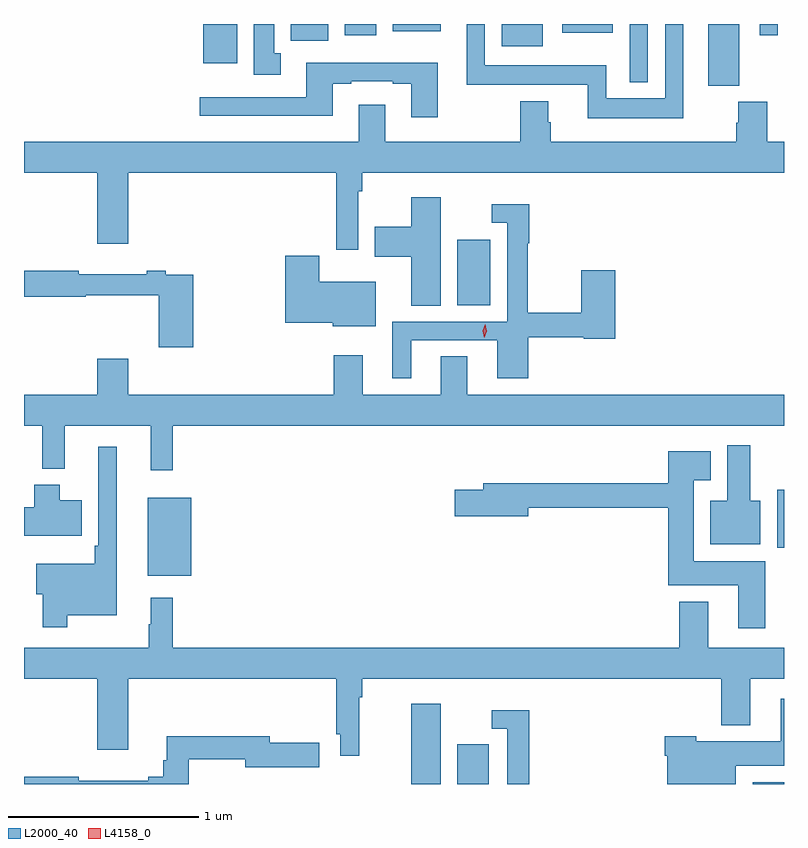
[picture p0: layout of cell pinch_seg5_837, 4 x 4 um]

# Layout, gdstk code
import gdstk
lib = gdstk.Library(unit=1e-6, precision=1e-09)
def R(c, l, rs):  # rectangles x0, y0, x1, y1
    for r in rs: c.add(gdstk.rectangle(r[:2], r[2:], *l))
def P(c, l, *ps):  # polygons
    for p in ps: c.add(gdstk.Polygon(p, *l))
L2000_40 = (2000, 40)
L4158_0 = (4158, 0)

pinch_seg5_837 = lib.new_cell('pinch_seg5_837')
R(pinch_seg5_837, L2000_40, [(802.025,876.187,802.18,876.61), (802.268,876.187,802.432,876.397), (803.822,876.187,803.987,876.196), (800.639,877.283,800.866,877.693), (803.951,877.43,803.987,877.735), (802.268,878.708,802.441,879.052), (803.588,879.862,803.752,880.187), (803.175,879.881,803.271,880.187), (800.93,879.98,801.109,880.187), (802.502,880.07,802.717,880.187), (801.392,880.1,801.589,880.187), (801.674,880.128,801.841,880.187), (803.859,880.128,803.955,880.187), (802.821,880.142,803.086,880.187), (801.929,880.148,802.18,880.187)])
P(pinch_seg5_837, L2000_40, [(803.458,880.187),(803.361,880.187),(803.361,879.796),(803.052,879.796),(803.052,879.97),(802.413,879.97),(802.413,880.187),(802.316,880.187),(802.316,879.866),(802.955,879.866),(802.955,879.692),(803.458,879.692)],
  [(801.337,880.034),(801.304,880.034),(801.304,880.187),(801.197,880.187),(801.197,879.921),(801.337,879.921)],
  [(802.165,879.982),(801.473,879.982),(801.473,879.801),(800.913,879.801),(800.913,879.704),(801.613,879.704),(801.613,879.873),(801.709,879.873),(801.709,879.885),(801.929,879.885),(801.929,879.873),(802.025,879.873),(802.025,879.696),(802.165,879.696)],
  [(801.747,879.308),(801.767,879.308),(801.767,879.404),(803.987,879.404),(803.987,879.568),(803.9,879.568),(803.9,879.777),(803.747,879.777),(803.747,879.668),(803.735,879.668),(803.735,879.568),(802.76,879.568),(802.76,879.669),(802.747,879.669),(802.747,879.781),(802.6,879.781),(802.6,879.568),(801.889,879.568),(801.889,879.763),(801.749,879.763),(801.749,879.568),(799.987,879.568),(799.987,879.404),(800.372,879.404),(800.372,879.03),(800.536,879.03),(800.536,879.404),(801.631,879.404),(801.631,879),(801.747,879)],
  [(802.18,879.274),(802.025,879.274),(802.025,879.121),(801.832,879.121),(801.832,878.963),(802.025,878.963),(802.025,878.704),(802.18,878.704)],
  [(802.024,878.523),(802.478,878.523),(802.478,878.322),(802.64,878.322),(802.64,878.538),(802.932,878.538),(802.932,878.53),(803.099,878.53),(803.099,878.89),(802.921,878.89),(802.921,878.666),(802.639,878.666),(802.639,879.034),(802.646,879.034),(802.646,879.238),(802.449,879.238),(802.449,879.141),(802.53,879.141),(802.53,878.619),(801.926,878.619),(801.926,878.322),(802.024,878.322)],
  [(801.838,878.83),(801.54,878.83),(801.54,878.968),(801.362,878.968),(801.362,878.615),(801.612,878.615),(801.612,878.597),(801.838,878.597)],
  [(800.879,878.868),(800.732,878.868),(800.732,878.888),(800.632,878.888),(800.632,878.869),(800.276,878.869),(800.276,878.888),(799.987,878.888),(799.987,878.752),(800.312,878.752),(800.312,878.76),(800.696,878.76),(800.696,878.487),(800.879,878.487)],
  [(800.771,878.072),(803.987,878.072),(803.987,878.236),(802.321,878.236),(802.321,878.438),(802.181,878.438),(802.181,878.236),(801.769,878.236),(801.769,878.443),(801.617,878.443),(801.617,878.236),(800.536,878.236),(800.536,878.425),(800.372,878.425),(800.372,878.236),(799.987,878.236),(799.987,878.072),(800.083,878.072),(800.083,877.847),(800.201,877.847),(800.201,878.072),(800.654,878.072),(800.654,877.839),(800.771,877.839)],
  [(803.863,877.678),(803.809,877.678),(803.809,877.969),(803.687,877.969),(803.687,877.678),(803.6,877.678),(803.6,877.448),(803.863,877.448)],
  [(800.215,877.076),(800.476,877.076),(800.476,877.963),(800.379,877.963),(800.379,877.441),(800.359,877.441),(800.359,877.345),(800.052,877.345),(800.052,877.187),(800.086,877.187),(800.086,877.011),(800.215,877.011)],
  [(803.887,877.36),(803.512,877.36),(803.512,877.787),(803.602,877.787),(803.602,877.939),(803.378,877.939),(803.378,877.771),(802.403,877.771),(802.403,877.737),(802.254,877.737),(802.254,877.595),(802.642,877.595),(802.642,877.642),(803.378,877.642),(803.378,877.232),(803.747,877.232),(803.747,877.008),(803.887,877.008)],
  [(800.29,877.681),(800.176,877.681),(800.176,877.762),(800.042,877.762),(800.042,877.644),(799.987,877.644),(799.987,877.493),(800.29,877.493)],
  [(801.752,876.644),(801.767,876.644),(801.767,876.74),(803.657,876.74),(803.657,876.497),(803.809,876.497),(803.809,876.74),(803.987,876.74),(803.987,876.904),(803.587,876.904),(803.587,877.147),(803.435,877.147),(803.435,876.904),(800.771,876.904),(800.771,877.168),(800.654,877.168),(800.654,877.028),(800.643,877.028),(800.643,876.904),(799.987,876.904),(799.987,876.74),(800.372,876.74),(800.372,876.366),(800.536,876.366),(800.536,876.74),(801.631,876.74),(801.631,876.448),(801.651,876.448),(801.651,876.336),(801.752,876.336)],
  [(803.734,876.284),(803.987,876.284),(803.987,876.637),(803.969,876.637),(803.969,876.412),(803.526,876.412),(803.526,876.439),(803.36,876.439),(803.36,876.335),(803.372,876.335),(803.372,876.187),(803.734,876.187)],
  [(802.646,876.574),(802.449,876.574),(802.449,876.477),(802.53,876.477),(802.53,876.187),(802.646,876.187)],
  [(800.855,876.318),(801.152,876.318),(801.152,876.275),(801.541,876.275),(801.541,876.405),(801.28,876.405),(801.28,876.439),(800.738,876.439),(800.738,876.312),(800.719,876.312),(800.719,876.224),(800.642,876.224),(800.642,876.205),(800.276,876.205),(800.276,876.224),(799.987,876.224),(799.987,876.187),(800.855,876.187)])
P(pinch_seg5_837, L4158_0, [(802.41,878.535),(802.41,878.535),(802.402,878.572),(802.414,878.607),(802.414,878.607),(802.414,878.607),(802.422,878.571),(802.41,878.535)])

lib.write_gds('pinch_seg5_837.gds')
